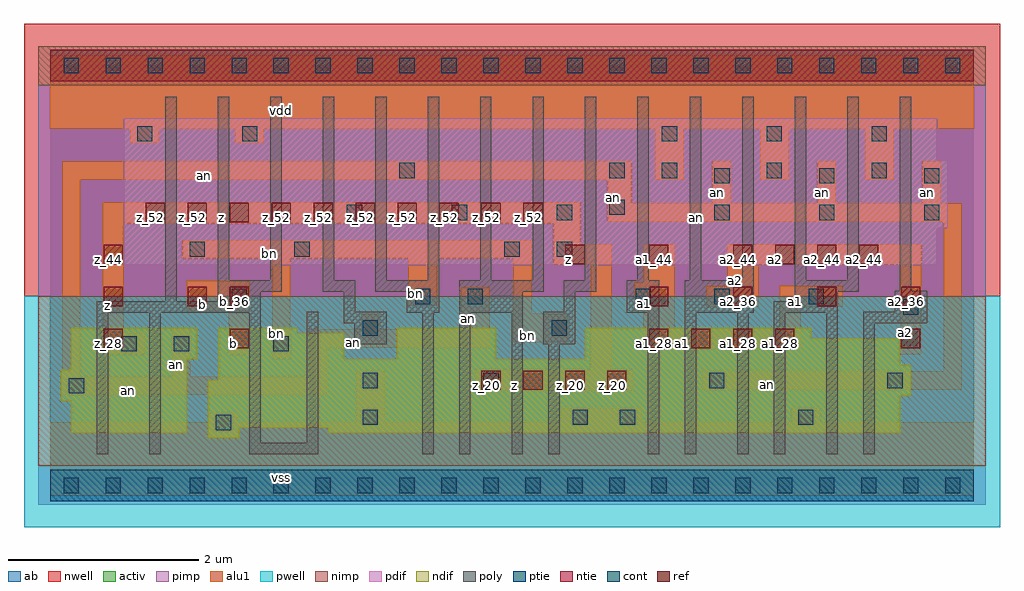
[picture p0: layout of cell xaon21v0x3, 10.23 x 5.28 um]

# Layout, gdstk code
import gdstk
lib = gdstk.Library(unit=1e-6, precision=2.5e-09)
def R(c, l, rs):  # rectangles x0, y0, x1, y1
    for r in rs: c.add(gdstk.rectangle(r[:2], r[2:], *l))
def A(c, l, x, y, w, h, nx, ny, dx, dy):  # array of equal rectangles
    R(c, l, [(x+i*dx, y+j*dy, x+i*dx+w, y+j*dy+h) for i in range(nx) for j in range(ny)])
ndif = (3, 0)
pdif = (4, 0)
ntie = (5, 0)
ptie = (6, 0)
ref = (24, 0)
cont = (25, 0)
pwell = (41, 0)
nwell = (42, 0)
activ = (43, 0)
pimp = (44, 0)
nimp = (45, 0)
poly = (46, 0)
alu1 = (49, 0)
ab = (63, 0)

xaon21v0x3 = lib.new_cell('xaon21v0x3')
R(xaon21v0x3, ndif, [(1.65,0.495,1.98,0.605), (0.22,0.55,1.43,0.88), (2.915,0.55,8.91,0.605), (1.65,0.605,8.91,0.935), (0.11,0.88,1.43,1.21), (1.65,0.935,9.02,1.1), (1.76,1.1,9.02,1.265), (0.22,1.21,1.43,1.32), (1.76,1.265,8.91,1.32), (0.22,1.32,1.54,1.65), (1.76,1.32,3.08,1.595), (3.63,1.32,4.675,1.65), (5.61,1.32,8.91,1.54), (5.61,1.54,7.975,1.65), (1.76,1.595,2.585,1.65)])
R(xaon21v0x3, pdif, [(0.77,2.31,9.295,2.695), (0.77,2.695,9.405,3.41), (0.77,3.41,9.295,3.85)])
R(xaon21v0x3, ntie, [(0,4.235,9.68,4.565)])
R(xaon21v0x3, ptie, [(0,-0.165,9.68,0.165)])
A(xaon21v0x3, ref, 4.52, 1, 0.2, 0.2, 4, 1, 0.44, 0)
A(xaon21v0x3, ref, 0.56, 1.44, 0.2, 0.2, 1, 3, 0, 0.44)
A(xaon21v0x3, ref, 6.28, 1.44, 0.2, 0.2, 4, 1, 0.44, 0)
A(xaon21v0x3, ref, 6.28, 1.88, 0.2, 0.2, 4, 1, 0.88, 0)
A(xaon21v0x3, ref, 5.4, 2.32, 0.2, 0.2, 3, 1, 0.88, 0)
A(xaon21v0x3, ref, 7.6, 2.32, 0.2, 0.2, 3, 1, 0.44, 0)
A(xaon21v0x3, ref, 1, 2.76, 0.2, 0.2, 10, 1, 0.44, 0)
R(xaon21v0x3, ref, [(1.88,1.44,2.08,1.64), (8.92,1.44,9.12,1.64), (1.44,1.88,1.64,2.08), (1.88,1.88,2.08,2.08)])
A(xaon21v0x3, cont, 0.14, -0.08, 0.16, 0.16, 22, 2, 0.44, 4.4)
A(xaon21v0x3, cont, 3.11, 2.78, 0.16, 0.16, 3, 1, 1.1, 0)
A(xaon21v0x3, cont, 6.96, 2.78, 0.16, 0.16, 3, 2, 1.1, 0.385)
A(xaon21v0x3, cont, 6.41, 3.22, 0.16, 0.16, 3, 2, 1.1, 0.385)
R(xaon21v0x3, cont, [(1.735,0.58,1.895,0.74), (3.275,0.635,3.435,0.795), (5.475,0.635,5.635,0.795), (5.97,0.635,6.13,0.795), (7.84,0.635,8,0.795), (0.195,0.965,0.355,1.125), (3.275,1.02,3.435,1.18), (4.54,1.02,4.7,1.18), (6.905,1.02,7.065,1.18), (8.775,1.02,8.935,1.18), (0.745,1.405,0.905,1.565), (1.295,1.405,1.455,1.565), (2.34,1.405,2.5,1.565), (3.275,1.57,3.435,1.73), (5.255,1.57,5.415,1.73), (8.94,1.79,9.1,1.95), (1.9,1.9,2.06,2.06), (3.825,1.9,3.985,2.06), (4.375,1.9,4.535,2.06), (6.135,1.9,6.295,2.06), (6.96,1.9,7.12,2.06), (7.95,1.9,8.11,2.06), (1.46,2.395,1.62,2.555), (2.56,2.395,2.72,2.555), (4.76,2.395,4.92,2.555), (5.31,2.395,5.47,2.555), (5.86,2.835,6.02,2.995), (3.66,3.22,3.82,3.38), (5.86,3.22,6.02,3.38), (0.91,3.605,1.07,3.765), (2.01,3.605,2.17,3.765)])
R(xaon21v0x3, pwell, [(-0.275,-0.44,9.955,1.98)])
R(xaon21v0x3, nwell, [(-0.275,1.98,9.955,4.84)])
R(xaon21v0x3, activ, [(0,-0.165,9.68,0.165), (1.65,0.495,1.98,0.605), (0.22,0.55,1.43,0.88), (2.915,0.55,8.91,0.605), (1.65,0.605,8.91,0.935), (0.11,0.88,1.43,1.21), (1.65,0.935,9.02,1.1), (1.76,1.1,9.02,1.265), (0.22,1.21,1.43,1.32), (1.76,1.265,8.91,1.32), (0.22,1.32,1.54,1.65), (1.76,1.32,3.08,1.595), (3.63,1.32,4.675,1.65), (5.61,1.32,8.91,1.54), (5.61,1.54,7.975,1.65), (1.76,1.595,2.585,1.65), (0.77,2.31,9.295,2.695), (0.77,2.695,9.405,3.41), (0.77,3.41,9.295,3.85), (0,4.235,9.68,4.565)])
R(xaon21v0x3, pimp, [(-0.125,-0.205,9.805,0.205), (-0.125,1.98,9.805,4.195)])
R(xaon21v0x3, nimp, [(-0.125,0.205,9.805,1.98), (-0.125,4.195,9.805,4.605)])
A(xaon21v0x3, poly, 1.755, 2.15, 0.12, 1.925, 13, 1, 0.55, 0)
R(xaon21v0x3, poly, [(0.49,0.325,0.61,1.81), (1.04,0.325,1.16,1.81), (2.085,0.325,2.81,0.445), (3.9,0.325,4.02,1.81), (4.285,0.325,4.405,1.81), (4.835,0.325,4.955,1.81), (5.22,0.325,5.34,1.48), (6.265,0.325,6.385,1.81), (6.65,0.325,6.77,1.81), (7.2,0.325,7.32,1.81), (7.585,0.325,7.705,1.81), (8.135,0.325,8.255,1.81), (8.52,0.325,8.64,1.7), (2.085,0.445,2.205,1.81), (2.69,0.445,2.81,1.82), (3.185,1.48,3.525,1.7), (5.165,1.48,5.505,1.82), (3.075,1.7,3.525,1.82), (8.52,1.7,9.19,1.82), (0.49,1.81,2.205,1.93), (3.735,1.81,4.075,2.03), (4.285,1.81,4.955,2.03), (6.045,1.81,6.385,2.15), (6.65,1.81,7.375,2.15), (7.585,1.81,8.255,1.93), (3.075,1.82,3.195,2.03), (5.385,1.82,5.505,2.03), (8.85,1.82,9.19,2.04), (1.205,1.93,1.325,4.075), (1.755,1.93,2.205,2.03), (7.805,1.93,8.255,2.03), (1.755,2.03,2.425,2.15), (2.855,2.03,3.195,2.15), (3.405,2.03,4.075,2.15), (4.285,2.03,5.175,2.15), (5.385,2.03,5.725,2.15), (7.805,2.03,8.475,2.15), (8.905,2.04,9.025,4.075)])
A(xaon21v0x3, alu1, 6.945, 2.955, 0.19, 0.44, 3, 1, 1.1, 0)
A(xaon21v0x3, alu1, 6.34, 3.205, 0.3, 0.535, 3, 1, 1.1, 0)
R(xaon21v0x3, alu1, [(0,-0.11,9.68,0.66), (1.665,0.66,1.965,0.755), (3.205,0.66,3.505,1.195), (5.35,0.66,6.2,0.81), (7.77,0.66,8.07,0.81), (0.125,0.95,2.9,1.14), (4.455,0.99,6.105,1.21), (6.835,1.005,9.555,1.195), (0.125,1.14,0.315,3.205), (1.28,1.14,1.47,1.635), (2.71,1.14,2.9,1.445), (9.365,1.195,9.555,2.765), (5.665,1.21,5.885,2.31), (2.325,1.335,2.515,2.38), (0.55,1.375,0.99,1.595), (1.87,1.375,2.09,1.815), (8.91,1.375,9.13,2.31), (6.215,1.43,7.865,1.65), (2.71,1.445,4.605,1.635), (4.855,1.5,5.43,1.8), (0.55,1.595,0.77,2.75), (3.26,1.635,3.45,1.8), (4.305,1.635,4.605,2.075), (6.215,1.65,6.545,1.83), (7.645,1.65,7.865,1.87), (4.855,1.8,5.045,2.38), (1.43,1.815,2.09,2.145), (6.12,1.83,6.545,2.13), (6.875,1.87,7.425,2.09), (7.645,1.87,8.305,2.09), (3.755,1.885,4.055,2.38), (7.095,2.09,7.425,2.31), (6.215,2.13,6.545,2.53), (5.28,2.31,5.885,2.53), (7.095,2.31,9.13,2.53), (1.39,2.38,5.045,2.57), (5.28,2.53,5.555,2.75), (0.55,2.75,5.555,2.97), (5.845,2.765,9.555,2.955), (5.845,2.955,6.09,3.205), (0.125,3.205,6.09,3.395), (0.84,3.59,1.14,3.74), (1.94,3.59,2.24,3.74), (0,3.74,9.68,4.51)])
R(xaon21v0x3, ab, [(0,0,9.68,4.4)])
xaon21v0x3.add(gdstk.Label('vss', (2.42,0.0825), layer=49, texttype=0))
xaon21v0x3.add(gdstk.Label('an', (7.515,1.0525), layer=49, texttype=0))
xaon21v0x3.add(gdstk.Label('z', (4.8675,1.045), layer=49, texttype=0))
xaon21v0x3.add(gdstk.Label('an', (0.8175,0.9975), layer=49, texttype=0))
xaon21v0x3.add(gdstk.Label('a2', (8.965,1.6075), layer=49, texttype=0))
xaon21v0x3.add(gdstk.Label('a1', (6.6275,1.485), layer=49, texttype=0))
xaon21v0x3.add(gdstk.Label('a1', (7.81,1.925), layer=49, texttype=0))
xaon21v0x3.add(gdstk.Label('a2', (7.1775,2.145), layer=49, texttype=0))
xaon21v0x3.add(gdstk.Label('a2', (7.6025,2.365), layer=49, texttype=0))
xaon21v0x3.add(gdstk.Label('a1', (6.225,1.905), layer=49, texttype=0))
xaon21v0x3.add(gdstk.Label('bn', (4.9975,1.575), layer=49, texttype=0))
xaon21v0x3.add(gdstk.Label('z', (5.43,2.365), layer=49, texttype=0))
xaon21v0x3.add(gdstk.Label('an', (3.1825,1.4925), layer=49, texttype=0))
xaon21v0x3.add(gdstk.Label('an', (4.38,1.745), layer=49, texttype=0))
xaon21v0x3.add(gdstk.Label('bn', (3.83,2.0075), layer=49, texttype=0))
xaon21v0x3.add(gdstk.Label('bn', (2.3725,1.595), layer=49, texttype=0))
xaon21v0x3.add(gdstk.Label('b', (1.925,1.485), layer=49, texttype=0))
xaon21v0x3.add(gdstk.Label('an', (1.3275,1.2625), layer=49, texttype=0))
xaon21v0x3.add(gdstk.Label('b', (1.595,1.8975), layer=49, texttype=0))
xaon21v0x3.add(gdstk.Label('bn', (2.3025,2.4275), layer=49, texttype=0))
xaon21v0x3.add(gdstk.Label('z', (0.605,1.8825), layer=49, texttype=0))
xaon21v0x3.add(gdstk.Label('an', (6.7725,2.8125), layer=49, texttype=0))
xaon21v0x3.add(gdstk.Label('an', (9.1925,3.065), layer=49, texttype=0))
xaon21v0x3.add(gdstk.Label('an', (8.0925,3.065), layer=49, texttype=0))
xaon21v0x3.add(gdstk.Label('an', (6.9925,3.065), layer=49, texttype=0))
xaon21v0x3.add(gdstk.Label('an', (5.905,3.0175), layer=49, texttype=0))
xaon21v0x3.add(gdstk.Label('z', (1.8,2.805), layer=49, texttype=0))
xaon21v0x3.add(gdstk.Label('an', (1.615,3.2525), layer=49, texttype=0))
xaon21v0x3.add(gdstk.Label('vdd', (2.42,3.9325), layer=49, texttype=0))
xaon21v0x3.add(gdstk.Label('z_20', (5.45,1.05), layer=24, texttype=0))
xaon21v0x3.add(gdstk.Label('z_44', (5.45,2.37), layer=24, texttype=0))
xaon21v0x3.add(gdstk.Label('z_20', (5.89,1.05), layer=24, texttype=0))
xaon21v0x3.add(gdstk.Label('a1_28', (6.33,1.49), layer=24, texttype=0))
xaon21v0x3.add(gdstk.Label('a1_36', (6.33,1.93), layer=24, texttype=0))
xaon21v0x3.add(gdstk.Label('a1_44', (6.33,2.37), layer=24, texttype=0))
xaon21v0x3.add(gdstk.Label('z_28', (0.61,1.49), layer=24, texttype=0))
xaon21v0x3.add(gdstk.Label('z_36', (0.61,1.93), layer=24, texttype=0))
xaon21v0x3.add(gdstk.Label('z_44', (0.61,2.37), layer=24, texttype=0))
xaon21v0x3.add(gdstk.Label('a1_28', (6.77,1.49), layer=24, texttype=0))
xaon21v0x3.add(gdstk.Label('a1_28', (7.21,1.49), layer=24, texttype=0))
xaon21v0x3.add(gdstk.Label('a2_36', (7.21,1.93), layer=24, texttype=0))
xaon21v0x3.add(gdstk.Label('a2_44', (7.21,2.37), layer=24, texttype=0))
xaon21v0x3.add(gdstk.Label('a1_28', (7.65,1.49), layer=24, texttype=0))
xaon21v0x3.add(gdstk.Label('a2_44', (7.65,2.37), layer=24, texttype=0))
xaon21v0x3.add(gdstk.Label('a1_36', (8.09,1.93), layer=24, texttype=0))
xaon21v0x3.add(gdstk.Label('a2_44', (8.09,2.37), layer=24, texttype=0))
xaon21v0x3.add(gdstk.Label('a2_44', (8.53,2.37), layer=24, texttype=0))
xaon21v0x3.add(gdstk.Label('a2_28', (8.97,1.49), layer=24, texttype=0))
xaon21v0x3.add(gdstk.Label('a2_36', (8.97,1.93), layer=24, texttype=0))
xaon21v0x3.add(gdstk.Label('z_52', (1.05,2.81), layer=24, texttype=0))
xaon21v0x3.add(gdstk.Label('b_36', (1.49,1.93), layer=24, texttype=0))
xaon21v0x3.add(gdstk.Label('z_52', (1.49,2.81), layer=24, texttype=0))
xaon21v0x3.add(gdstk.Label('b_28', (1.93,1.49), layer=24, texttype=0))
xaon21v0x3.add(gdstk.Label('b_36', (1.93,1.93), layer=24, texttype=0))
xaon21v0x3.add(gdstk.Label('z_52', (1.93,2.81), layer=24, texttype=0))
xaon21v0x3.add(gdstk.Label('z_52', (2.37,2.81), layer=24, texttype=0))
xaon21v0x3.add(gdstk.Label('z_52', (2.81,2.81), layer=24, texttype=0))
xaon21v0x3.add(gdstk.Label('z_52', (3.25,2.81), layer=24, texttype=0))
xaon21v0x3.add(gdstk.Label('z_52', (3.69,2.81), layer=24, texttype=0))
xaon21v0x3.add(gdstk.Label('z_52', (4.13,2.81), layer=24, texttype=0))
xaon21v0x3.add(gdstk.Label('z_20', (4.57,1.05), layer=24, texttype=0))
xaon21v0x3.add(gdstk.Label('z_52', (4.57,2.81), layer=24, texttype=0))
xaon21v0x3.add(gdstk.Label('z_20', (5.01,1.05), layer=24, texttype=0))
xaon21v0x3.add(gdstk.Label('z_52', (5.01,2.81), layer=24, texttype=0))

lib.write_gds('xaon21v0x3.gds')
